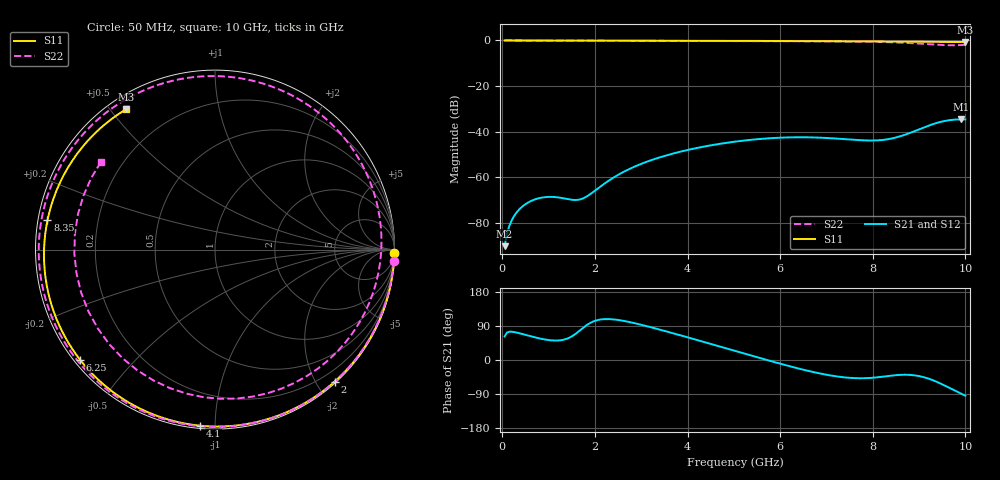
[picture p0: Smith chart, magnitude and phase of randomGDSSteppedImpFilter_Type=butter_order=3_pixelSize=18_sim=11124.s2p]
! freq	dB(S11)	phase(S11)	dB(S12)	phase(S12)
!  dB(S21)	phase(S21)	dB(S22)	phase(S22)
!S-par simulation data
#  GHz  S  DB  R 50
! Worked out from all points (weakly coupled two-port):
!   200 points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, 50 MHz to 10 GHz, reference 50 ohm
!   highest |S21| = -34.55 dB at 9.9 GHz (marker M1); lowest = -90.1 dB at 50 MHz (marker M2)
!   lowest |S11| = -0.7 dB at 10 GHz (marker M3), VSWR 25.82, Z = 2.52 + j27.5 ohm
!   |S11| at or under -10 dB: nowhere
!   |S22| runs from -2.1 to 0.0 dB; largest |S21 - S12| = 0
!   S11 on the Smith chart (normalised r, x): 50 MHz: 0, -95; 2 GHz: 0.02, -2.26; 4.1 GHz: 0.01, -0.92; 6.25 GHz: 0.02, -0.36; 8.35 GHz: 0.03, +0.09; 10 GHz: 0.05, +0.55
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0.05  -0.00 -1.2  -90.08 62.1  -90.08 62.1  -0.01 -3.5
0.15  -0.00 -3.6  -81.28 74.5  -81.28 74.5  -0.03 -10.4
0.5  -0.02 -12.1  -71.69 66.4  -71.69 66.4  -0.05 -33.9
0.9  -0.03 -21.8  -68.67 54.5  -68.67 54.5  -0.07 -59.3
1.3  -0.04 -31.3  -69.02 52.9  -69.02 52.9  -0.09 -82.4
1.75  -0.05 -41.9  -69.10 85.4  -69.10 85.4  -0.11 -105.7
2  -0.06 -47.8  -65.80 103.3  -65.80 103.3  -0.12 -117.4
2.7  -0.08 -63.8  -56.71 101.3  -56.71 101.3  -0.14 -146.6
3.4  -0.11 -79.5  -51.19 80.2  -51.19 80.2  -0.15 -172.1
4.1  -0.13 -94.7  -47.52 56.4  -47.52 56.4  -0.17 164.3
5.05  -0.18 -115.1  -44.24 23.3  -44.24 23.3  -0.22 133.1
6.25  -0.26 -140.9  -42.42 -17.9  -42.42 -17.9  -0.29 91.2
6.7  -0.30 -150.8  -42.46 -31.4  -42.46 -31.4  -0.33 73.7
7.5  -0.37 -169.0  -43.36 -47.1  -43.36 -47.1  -0.44 38.1
7.95  -0.42 -179.8  -43.80 -47.3  -43.80 -47.3  -0.57 14.0
8.35  -0.47 170.1  -43.17 -42.0  -43.17 -42.0  -0.76 -11.7
8.75  -0.52 159.5  -40.88 -39.0  -40.88 -39.0  -1.09 -44.3
9.2  -0.57 146.9  -37.35 -49.0  -37.35 -49.0  -1.67 -94.4
9.4  -0.60 141.0  -36.01 -58.6  -36.01 -58.6  -1.94 -122.6
9.6  -0.62 134.9  -35.08 -70.2  -35.08 -70.2  -2.11 -154.0
9.9  -0.66 125.4  -34.55 -88.6  -34.55 -88.6  -2.02 157.7
10  -0.67 122.2  -34.57 -94.3  -34.57 -94.3  -1.92 142.6
